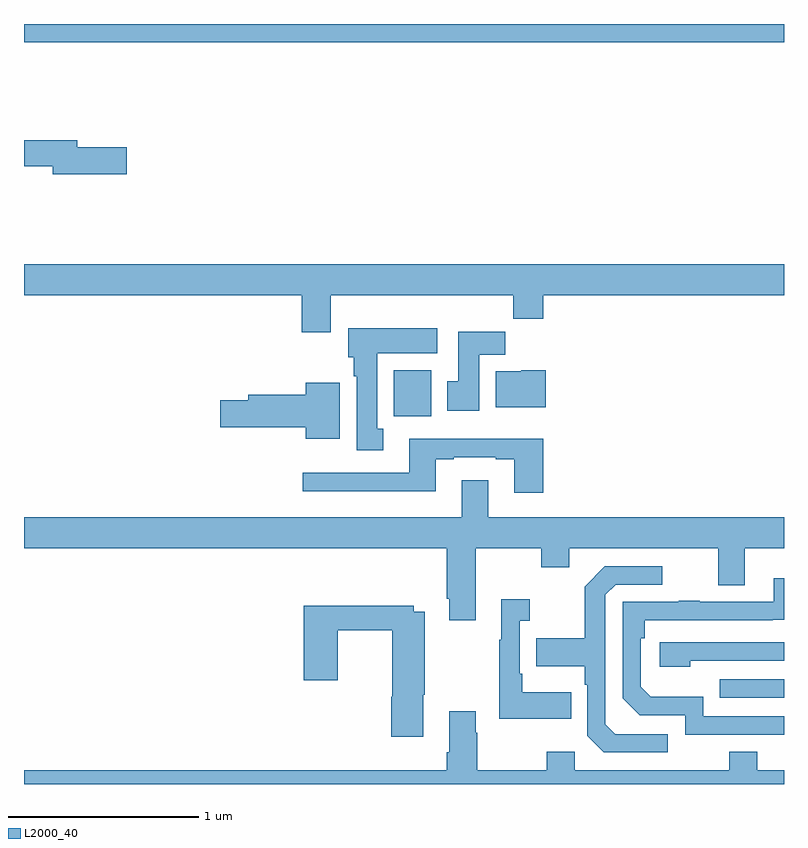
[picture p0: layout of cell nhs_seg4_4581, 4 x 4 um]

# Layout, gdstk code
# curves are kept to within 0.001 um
import gdstk
lib = gdstk.Library(unit=1e-6, precision=1e-09)
def R(c, l, rs):  # rectangles x0, y0, x1, y1
    for r in rs: c.add(gdstk.rectangle(r[:2], r[2:], *l))
def P(c, l, *ps):  # polygons
    for p in ps: c.add(gdstk.Polygon(p, *l))
L2000_40 = (2000, 40)

nhs_seg4_4581 = lib.new_cell('nhs_seg4_4581')
R(nhs_seg4_4581, L2000_40, [(360.661,809.355,361,809.451), (358.946,810.836,359.143,811.078), (357,812.804,361,812.9)])
P(nhs_seg4_4581, L2000_40, [(357.541,812.252),(357.28,812.252),(357.28,812.288),(357,812.288),(357,812.152),(357.152,812.152),(357.152,812.11),(357.541,812.11)],
  [(358.615,811.472),(359.575,811.472),(359.575,811.348),(359.732,811.348),(359.732,811.472),(361,811.472),(361,811.636),(357,811.636),(357,811.472),(358.463,811.472),(358.463,811.278),(358.615,811.278)],
  [(358.891,810.77),(358.858,810.77),(358.858,811.166),(359.176,811.166),(359.176,811.3),(358.706,811.3),(358.706,811.146),(358.736,811.146),(358.736,811.046),(358.751,811.046),(358.751,810.657),(358.891,810.657)],
  [(359.395,811.16),(359.534,811.16),(359.534,811.279),(359.285,811.279),(359.285,811.02),(359.228,811.02),(359.228,810.864),(359.395,810.864)],
  [(359.747,811.078),(359.616,811.078),(359.616,811.072),(359.483,811.072),(359.483,810.884),(359.747,810.884)],
  [(358.663,811.012),(358.484,811.012),(358.484,810.95),(358.181,810.95),(358.181,810.92),(358.032,810.92),(358.032,810.778),(358.484,810.778),(358.484,810.716),(358.663,810.716)],
  [(359.732,810.718),(359.027,810.718),(359.027,810.537),(358.467,810.537),(358.467,810.44),(359.167,810.44),(359.167,810.609),(359.263,810.609),(359.263,810.621),(359.483,810.621),(359.483,810.609),(359.579,810.609),(359.579,810.432),(359.732,810.432)],
  [(359.377,810.14),(359.722,810.14),(359.722,810.041),(359.869,810.041),(359.869,810.14),(360.653,810.14),(360.653,809.946),(360.793,809.946),(360.793,810.14),(361,810.14),(361,810.304),(359.443,810.304),(359.443,810.499),(359.303,810.499),(359.303,810.304),(357,810.304),(357,810.14),(359.225,810.14),(359.225,809.875),(359.237,809.875),(359.237,809.763),(359.377,809.763)],
  [(360.388,809.163),(360.111,809.163),(360.06,809.214),(360.06,809.895),(360.114,809.949),(360.358,809.949),(360.358,810.045),(360.057,810.045),(359.952,809.939),(359.952,809.667),(359.695,809.667),(359.695,809.519),(359.952,809.519),(359.952,809.423),(359.964,809.423),(359.964,809.154),(360.051,809.067),(360.388,809.067)],
  [(361,809.256),(360.576,809.256),(360.576,809.359),(360.299,809.359),(360.246,809.412),(360.246,809.666),(360.266,809.666),(360.266,809.763),(361,809.764),(361,809.983),(360.947,809.983),(360.947,809.859),(360.557,809.859),(360.557,809.864),(360.445,809.864),(360.445,809.859),(360.15,809.859),(360.15,809.352),(360.24,809.262),(360.48,809.262),(360.48,809.16),(361,809.16)],
  [(359.879,809.383),(359.623,809.383),(359.623,809.479),(359.61,809.479),(359.61,809.759),(359.662,809.759),(359.662,809.872),(359.513,809.872),(359.513,809.659),(359.502,809.659),(359.502,809.243),(359.879,809.243)],
  [(359.101,809.371),(359.109,809.371),(359.109,809.806),(359.052,809.806),(359.052,809.839),(358.472,809.839),(358.472,809.445),(358.65,809.445),(358.65,809.71),(358.939,809.71),(358.939,809.36),(358.934,809.36),(358.934,809.148),(359.101,809.148)],
  [(360.506,809.55),(361,809.55),(361,809.646),(360.345,809.646),(360.345,809.516),(360.506,809.516)],
  [(357,808.9),(361,808.9),(361,808.972),(360.859,808.972),(360.859,809.071),(360.712,809.071),(360.712,808.972),(359.898,808.972),(359.898,809.071),(359.752,809.071),(359.752,808.972),(359.385,808.972),(359.385,809.171),(359.377,809.171),(359.377,809.284),(359.237,809.284),(359.237,809.068),(359.225,809.068),(359.225,808.972),(357,808.972)])

lib.write_gds('nhs_seg4_4581.gds')
